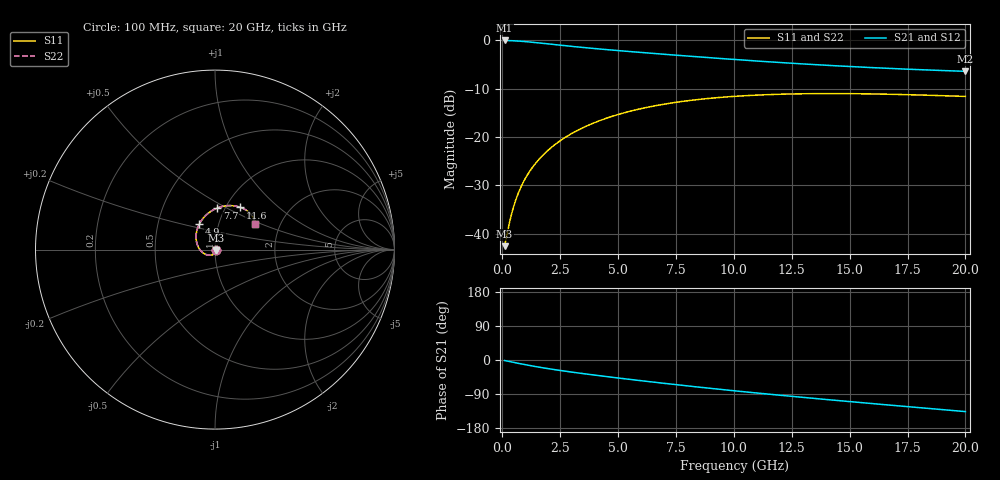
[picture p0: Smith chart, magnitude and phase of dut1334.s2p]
! Touchstone file exported from HFSS 2024.1.0
!  File:  C:/UserFiles/LocalFiles/RDL_TSV_Batchsim/temp_RDL_TSV_1334_1780390275.aedt
!  Generated:  05:03:51 PM Jun  2, 2026
!  Design:  RDL_TSV
!  Project:  temp_RDL_TSV_1334_1780390275
!  Setup:  Setup1
!  Solution:  Sweep
! Variables:
!  dtsv = 9.98um
!  hbump = 3um
!  htsv = 74.67um
!  ldown = 128.06um
!  lrdl = 355.8um
!  p = 40
!  p1 = 49.31um
!  rhole = 10um
!  subl = 1807.38um
!  t = 450um
!  tdown = 4.07um
!  trdl = 4.2um
!  viad = 10um
!  wdown = 26.55um
!  wrdl = 28.46um
!  xbump = 18um
# GHz S MA R 50.000000
! Terminal data exported
! Port[1] = TM1_1_T1
! Port[2] = TM1_4_T1
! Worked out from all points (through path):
!   200 points, 100 MHz to 20 GHz, reference 50 ohm
!   highest |S21| = -0.06 dB at 100 MHz (marker M1); lowest = -6.4 dB at 20 GHz (marker M2)
!   group delay of S21, straight-line fit = 17.9 ps
!   lowest |S11| = -42.6 dB at 100 MHz (marker M3), VSWR 1.02, Z = 50.6 - j0.374 ohm
!   |S11| at or under -10 dB: start of sweep to end of sweep
!   |S22| runs from -42.6 to -11.0 dB; largest |S21 - S12| = 2.4e-14
!   S11 on the Smith chart (normalised r, x): 100 MHz: 1.01, -0.01; 4.9 GHz: 0.81, +0.24; 7.7 GHz: 0.92, +0.45; 11.6 GHz: 1.17, +0.59; 20 GHz: 1.49, +0.45
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0.1  0.007449 -29.7  0.9929 -1.3  0.9929 -1.3  0.007448 -29.7
! Gamma 0 0 0 0
! Port Impedance 50 0 50 0
0.3  0.01272 -68.3  0.9896 -3.9  0.9896 -3.9  0.01272 -68.3
0.4  0.01602 -80.5  0.9874 -5.2  0.9874 -5.2  0.01602 -80.5
0.6  0.02303 -98.6  0.9817 -7.7  0.9817 -7.7  0.02303 -98.6
0.7  0.02661 -106.0  0.9783 -8.9  0.9783 -8.9  0.02661 -106.0
0.9  0.03385 -118.8  0.9704 -11.3  0.9704 -11.3  0.03386 -118.9
1.2  0.04478 -135.2  0.9565 -14.7  0.9565 -14.7  0.04479 -135.2
1.4  0.05206 -144.8  0.9462 -16.9  0.9462 -16.9  0.05208 -144.9
1.7  0.06294 -157.8  0.9301 -20.1  0.9301 -20.1  0.06297 -157.9
2.2  0.08085 -176.5  0.9029 -24.9  0.9029 -24.9  0.08091 -176.6
2.8  0.1018 164.9  0.872 -30.2  0.872 -30.2  0.1019 164.9
3.5  0.1252 147.4  0.8394 -36.0  0.8394 -36.0  0.1254 147.4
4.2  0.1473 133.0  0.8103 -41.5  0.8103 -41.5  0.1475 133.0
4.9  0.1677 121.0  0.7839 -46.8  0.7839 -46.8  0.168 121.0
5.8  0.1915 108.1  0.7526 -53.3  0.7526 -53.3  0.1919 108.1
6.8  0.2143 96.1  0.7205 -60.3  0.7205 -60.3  0.2147 96.1
7.7  0.2316 87.0  0.6936 -66.4  0.6936 -66.4  0.2321 87.0
10.1  0.2635 68.0  0.6297 -81.7  0.6297 -81.7  0.2641 68.0
11.6  0.2744 58.9  0.5956 -90.7  0.5956 -90.7  0.275 58.9
13.4  0.2802 50.1  0.5605 -101.0  0.5605 -101.0  0.2809 50.1
16.7  0.2763 38.7  0.5109 -118.9  0.5109 -118.9  0.2771 38.8
20  0.2624 32.6  0.4766 -136.2  0.4766 -136.2  0.2632 32.6
